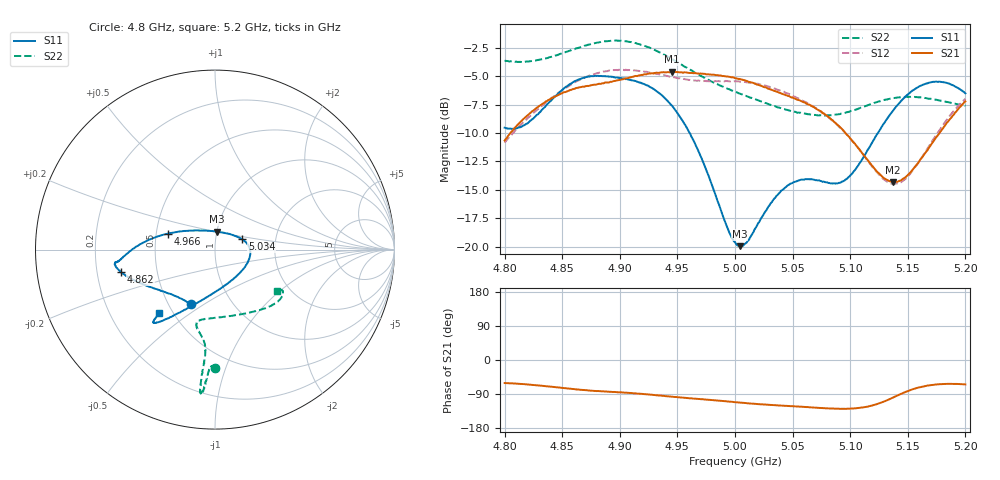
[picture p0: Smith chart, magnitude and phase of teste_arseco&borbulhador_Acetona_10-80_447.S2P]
! Network Analyzer HP8722D
! Hewlett-Packard
! Data name: Linha & Wilkinson
! Saver's name: Rodrigo Anjos
! Comments: Teste da utilização de aquisição
! continua pelo VNA HP8722D
! Time and date: 17/4/2025 18:05
!  Frequency  S11  S21  S12  S22
# HZ  S  MA R 50
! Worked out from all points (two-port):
!   401 points, 4.8 GHz to 5.2 GHz, reference 50 ohm
!   highest |S21| = -4.61 dB at 4.945 GHz (marker M1); lowest = -14.3 dB at 5.137 GHz (marker M2)
!   |S21| within 3 dB of the highest: 4.83 GHz to 5.066 GHz (236 MHz wide, 4.77 % of centre); 5.196336 GHz to end of sweep
!   lowest |S11| = -19.9 dB at 5.004 GHz (marker M3), VSWR 1.22, Z = 49.9 + j10.1 ohm
!   |S11| at or under -10 dB: 4.961 GHz to 5.124 GHz (163.3 MHz wide, 3.24 % of centre)
!   |S22| runs from -8.5 to -1.9 dB; largest |S21 - S12| = 0.88
!   S11 on the Smith chart (normalised r, x): 4.8 GHz: 0.64, -0.44; 4.862 GHz: 0.30, -0.11; 4.966 GHz: 0.57, +0.11; 5.034 GHz: 1.35, +0.16; 5.2 GHz: 0.42, -0.39
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4.8e9  0.3338 -113.7  0.293 -60.8  0.2869 -175.0  0.6569 -90.1
4.819e9  0.3472 -133.8  0.3747 -64.2  0.3631 -173.8  0.6527 -91.7
4.862e9  0.5373 -166.3  0.499 -77.4  0.5318 -177.0  0.7451 -94.1
4.867e9  0.5497 -168.3  0.5045 -78.8  0.5472 -178.1  0.7579 -94.1
4.899e9  0.5525 -172.9  0.54 -85.3  0.5999 175.3  0.8056 -95.6
4.934e9  0.4745 -178.9  0.5818 -93.6  0.5731 171.7  0.7171 -96.0
4.945e9  0.4184 175.9  0.5879 -96.8  0.5594 171.9  0.6702 -95.8
4.966e9  0.2786 161.5  0.5788 -102.2  0.5378 173.6  0.5802 -95.3
5e9  0.1046 98.8  0.5515 -111.3  0.5346 176.2  0.4806 -99.5
5.004e9  0.1006 84.9  0.5464 -112.2  0.532 176.0  0.4714 -100.3
5.012e9  0.1069 59.3  0.5303 -114.5  0.5266 175.7  0.4554 -102.1
5.034e9  0.1628 20.6  0.484 -119.3  0.497 174.8  0.4155 -103.8
5.049e9  0.1898 5.3  0.4532 -121.8  0.4639 174.1  0.3947 -100.1
5.067e9  0.198 -14.0  0.4142 -125.2  0.4162 173.5  0.3799 -90.3
5.087e9  0.1897 -46.3  0.3511 -128.6  0.3498 173.6  0.381 -75.4
5.097e9  0.1985 -66.9  0.3113 -128.7  0.312 174.6  0.3902 -67.1
5.134e9  0.3775 -117.0  0.1943 -103.5  0.1908 -156.5  0.4471 -43.0
5.137e9  0.3955 -118.7  0.1921 -99.3  0.1892 -151.6  0.4503 -41.7
5.15e9  0.4669 -124.7  0.2067 -82.1  0.2038 -131.6  0.4559 -36.8
5.17e9  0.5287 -129.4  0.28 -66.2  0.2849 -112.3  0.4472 -32.1
5.184e9  0.5251 -130.7  0.3517 -63.0  0.3626 -107.3  0.4332 -31.2
5.2e9  0.4724 -131.1  0.4353 -64.5  0.4476 -106.6  0.4165 -33.6
